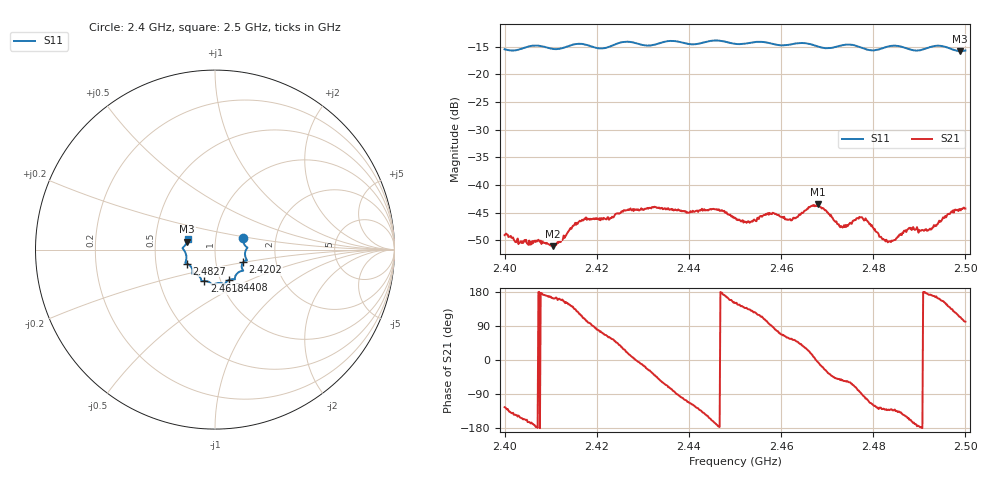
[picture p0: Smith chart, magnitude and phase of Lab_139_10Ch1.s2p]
# Hz S RI R 50
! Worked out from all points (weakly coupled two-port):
!   601 points, 2.4 GHz to 2.5 GHz, reference 50 ohm
!   highest |S21| = -43.45 dB at 2.468 GHz (marker M1); lowest = -51.1 dB at 2.4105 GHz (marker M2)
!   lowest |S11| = -15.8 dB at 2.4988 GHz (marker M3), VSWR 1.38, Z = 36.4 + j3.34 ohm
!   |S11| at or under -10 dB: start of sweep to end of sweep
!   S12 and S22 are empty: the file has one direction only
!   S11 on the Smith chart (normalised r, x): 2.4 GHz: 1.36, +0.17; 2.4202 GHz: 1.36, -0.20; 2.4408 GHz: 1.10, -0.38; 2.4618 GHz: 0.84, -0.30; 2.4827 GHz: 0.72, -0.12; 2.5 GHz: 0.73, +0.09
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2.4e9  0.156 0.062  -0.002 -0.0029  0 0  0 0
2.4035e9  0.1673 0.0226  -0.00275 -0.00142  0 0  0 0
2.4105e9  0.1688 -0.0117  -0.00267 0.000831  0 0  0 0
2.416667e9  0.1781 -0.0594  -0.0022 0.0042  0 0  0 0
2.420167e9  0.1567 -0.0705  0.000842 0.00484  0 0  0 0
2.433333e9  0.1119 -0.1521  0.00406 -0.00466  0 0  0 0
2.440833e9  0.079 -0.1687  -0.00273 -0.00518  0 0  0 0
2.446e9  0.0515 -0.1948  -0.00596 -0.00101  0 0  0 0
2.45e9  0.0279 -0.186  -0.00439 0.0025  0 0  0 0
2.453e9  -0.00107 -0.1913  -0.00323 0.00338  0 0  0 0
2.458e9  -0.0239 -0.1867  4.22e-05 0.00545  0 0  0 0
2.461833e9  -0.0599 -0.175  0.00274 0.00406  0 0  0 0
2.466667e9  -0.0769 -0.1686  0.00626 0.00163  0 0  0 0
2.468e9  -0.0807 -0.1586  0.00669 -0.000654  0 0  0 0
2.473e9  -0.1211 -0.1349  0.00268 -0.00331  0 0  0 0
2.477833e9  -0.1255 -0.1166  -0.0004 -0.0049  0 0  0 0
2.482667e9  -0.1569 -0.0778  -0.00202 -0.00234  0 0  0 0
2.483333e9  -0.1611 -0.0764  -0.00202 -0.00233  0 0  0 0
2.488167e9  -0.1594 -0.0475  -0.00383 -0.00149  0 0  0 0
2.492167e9  -0.1748 -0.000518  -0.00393 0.000566  0 0  0 0
2.498833e9  -0.1551 0.0446  -0.00241 0.00554  0 0  0 0
2.5e9  -0.1518 0.0615  -0.00118 0.00601  0 0  0 0
